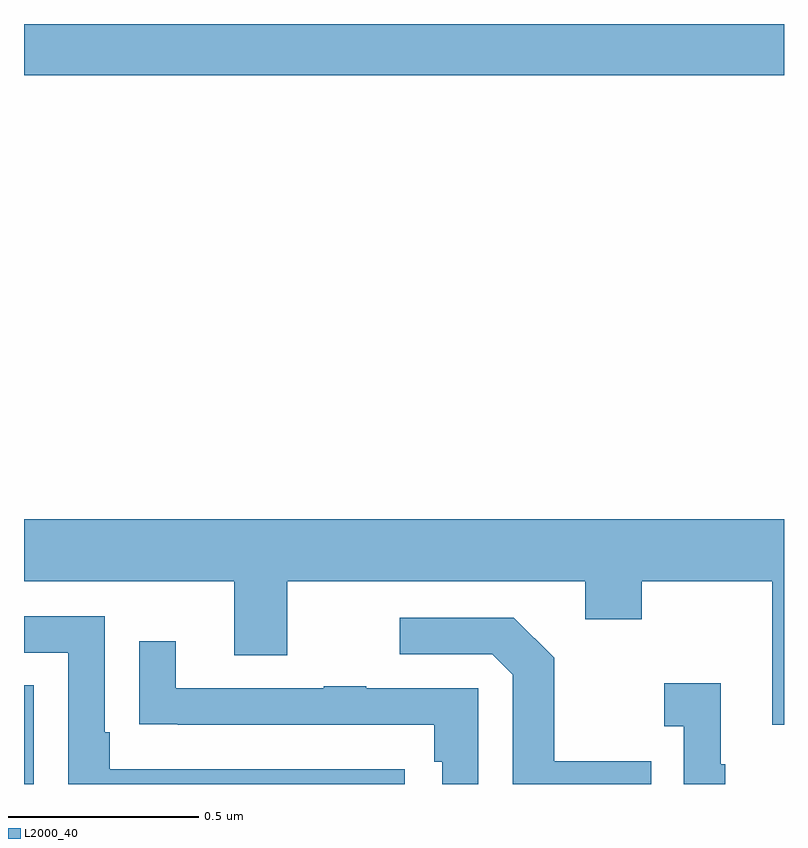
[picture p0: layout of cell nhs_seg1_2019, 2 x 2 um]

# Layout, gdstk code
import gdstk
lib = gdstk.Library(unit=1e-6, precision=1e-09)
def R(c, l, rs):  # rectangles x0, y0, x1, y1
    for r in rs: c.add(gdstk.rectangle(r[:2], r[2:], *l))
def P(c, l, *ps):  # polygons
    for p in ps: c.add(gdstk.Polygon(p, *l))
L2000_40 = (2000, 40)

nhs_seg1_2019 = lib.new_cell('nhs_seg1_2019')
R(nhs_seg1_2019, L2000_40, [(136,551.199,136.026,551.459), (136,553.064,138,553.199)])
P(nhs_seg1_2019, L2000_40, [(138,551.896),(136,551.896),(136,551.732),(136.553,551.732),(136.553,551.538),(136.693,551.538),(136.693,551.732),(137.477,551.732),(137.477,551.633),(137.625,551.633),(137.625,551.732),(137.969,551.732),(137.969,551.355),(138,551.355)],
  [(137.002,551.238),(136.225,551.238),(136.225,551.335),(136.212,551.335),(136.212,551.64),(136,551.64),(136,551.544),(136.116,551.544),(136.116,551.199),(137.002,551.199)],
  [(137.651,551.259),(137.395,551.259),(137.395,551.531),(137.289,551.637),(136.989,551.637),(136.989,551.541),(137.232,551.541),(137.286,551.487),(137.286,551.199),(137.651,551.199)],
  [(137.196,551.451),(136.901,551.451),(136.901,551.456),(136.789,551.456),(136.789,551.451),(136.399,551.451),(136.399,551.575),(136.303,551.575),(136.303,551.356),(136.405,551.356),(136.405,551.355),(137.08,551.355),(137.08,551.258),(137.1,551.258),(137.1,551.199),(137.196,551.199)],
  [(137.845,551.251),(137.833,551.251),(137.833,551.464),(137.685,551.464),(137.685,551.351),(137.736,551.351),(137.736,551.199),(137.845,551.199)])

lib.write_gds('nhs_seg1_2019.gds')
